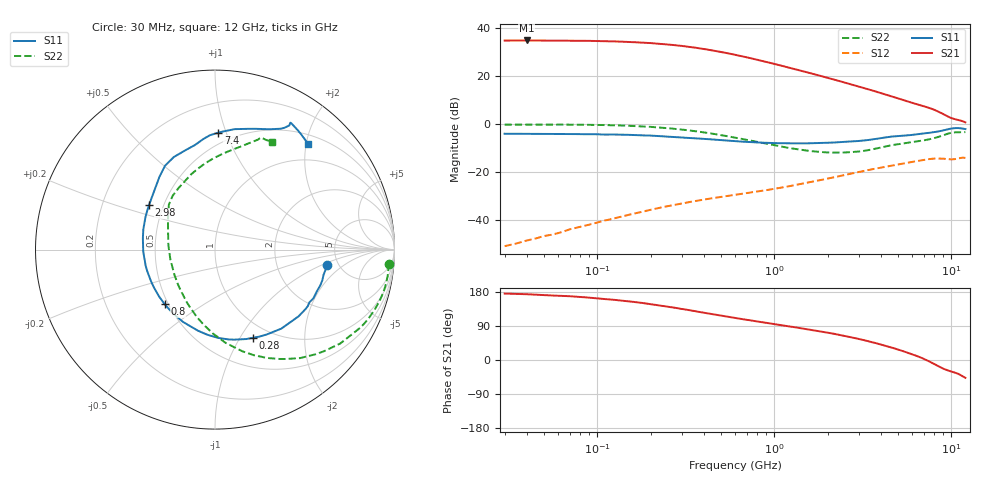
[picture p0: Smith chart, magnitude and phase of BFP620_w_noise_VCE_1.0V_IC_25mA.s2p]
! Infineon Technologies  Discrete & RF Semiconductors
! BFP620
! VCE =  1.0 V,  IC =  25 mA
! Common Emitter S-Parameters:  Nov 2015
# GHz  S  MA  R  50
!  f  S11  S21  S12  S22
! GHz  MAG  ANG  MAG  ANG  MAG  ANG  MAG  ANG
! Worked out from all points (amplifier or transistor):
!   239 points, 30 MHz to 12 GHz, reference 50 ohm
!   highest |S21| = 34.7 dB at 40 MHz (marker M1)
!   |S21| within 3 dB of that: start of sweep to 358.1 MHz
!   unconditionally stable (mu >= 1): 2.724 GHz to end of sweep
!   at 300 MHz: K = 0.31, MSG = 32.7 dB, |S12| = -33.0 dB
!   at 1.88 GHz: K = 0.94, MSG = 21.4 dB, |S12| = -23.1 dB
!   at 12 GHz: K = 1.09, MAG = 5.6 dB, |S12| = -14.1 dB
!   lowest NFmin = 1.05 dB at 450 MHz
!   S11 on the Smith chart (normalised r, x): 30 MHz: 4.01, -1.17; 280 MHz: 0.83, -1.14; 800 MHz: 0.48, -0.35; 2.98 GHz: 0.42, +0.26; 7.4 GHz: 0.41, +0.94; 12 GHz: 0.67, +2.04
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0.03  0.6276 -8.1  54.09 175.3  0.0029 89.9  0.9701 -4.7
0.04  0.6253 -10.8  54.32 173.6  0.0038 88.2  0.9725 -6.7
0.05  0.6209 -13.0  54.1 171.0  0.0047 84.4  0.9732 -8.8
0.07  0.62 -18.6  53.97 168.3  0.0065 82.8  0.9697 -12.9
0.085  0.6132 -22.3  53.38 165.5  0.0077 81.1  0.9636 -15.9
0.12  0.6055 -31.5  52.19 159.5  0.0106 77.8  0.9433 -22.6
0.15  0.5957 -38.7  50.7 154.8  0.013 74.6  0.9195 -28.2
0.195  0.5759 -48.8  48.17 148.2  0.0161 70.8  0.8759 -36.0
0.24  0.5539 -58.6  45.43 142.0  0.0191 67.4  0.8296 -43.1
0.28  0.5351 -66.6  43 137.2  0.0213 65.0  0.7876 -48.9
0.34  0.5132 -77.9  39.48 130.5  0.0243 61.8  0.7266 -57.0
0.4  0.4929 -87.7  36.17 124.7  0.0269 59.5  0.67 -64.3
0.5  0.4617 -101.9  31.3 117.0  0.0306 56.6  0.5878 -74.8
0.6  0.4407 -113.8  27.39 110.8  0.0338 54.9  0.5216 -83.7
0.8  0.414 -132.6  21.57 101.4  0.0395 53.1  0.4238 -98.5
1.1  0.3987 -152.4  16.18 91.6  0.0478 51.9  0.339 -116.6
1.64  0.3985 -176.6  11.07 79.0  0.0632 49.6  0.2718 -143.3
2.2  0.4142 165.3  8.268 68.6  0.079 45.8  0.2547 -167.4
2.98  0.4431 146.2  6.039 55.6  0.1001 39.0  0.2677 167.1
4.5  0.5443 120.7  3.829 33.9  0.1346 24.0  0.3587 135.8
7.4  0.6518 88.4  2.189 -2.5  0.1857 -5.2  0.4759 98.2
12  0.7845 48.5  1.081 -47.0  0.1982 -43.5  0.6794 62.0
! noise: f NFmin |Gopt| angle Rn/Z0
0.45  1.05  0.07  -148  0.1
0.9  1.05  0.13  -147  0.1
1.9  1.06  0.16  -140  0.1
2.4  1.09  0.18  -135  0.11
3.5  1.13  0.26  -96  0.15
5.5  1.38  0.31  -84  0.2
10  1.78  0.61  -46  0.85
